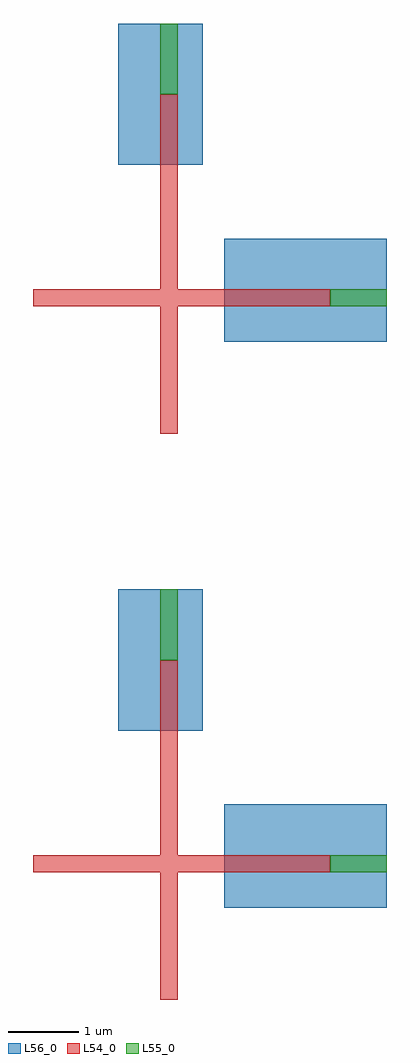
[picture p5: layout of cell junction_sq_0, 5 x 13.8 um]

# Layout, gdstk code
import gdstk
lib = gdstk.Library(unit=1e-6, precision=1e-09)
def R(c, l, rs):  # rectangles x0, y0, x1, y1
    for r in rs: c.add(gdstk.rectangle(r[:2], r[2:], *l))
L54_0 = (54, 0)
L55_0 = (55, 0)
L56_0 = (56, 0)

junction_sq_0 = lib.new_cell('junction_sq_0')
R(junction_sq_0, L54_0, [(-1.2,-7.3,-0.958,-2.5), (-3,-5.5,1.2,-5.258), (-1.2,0.7,-0.958,5.5), (-3,2.5,1.2,2.742)])
R(junction_sq_0, L55_0, [(1.2,-5.5,2,-5.258), (-1.2,-2.5,-0.958,-1.5), (1.2,2.5,2,2.742), (-1.2,5.5,-0.958,6.5)])
R(junction_sq_0, L56_0, [(-0.3,-6,2,-4.54), (-1.8,-3.5,-0.6,-1.5), (-0.3,2,2,3.46), (-1.8,4.5,-0.6,6.5)])

lib.write_gds('junction_sq_0.gds')
